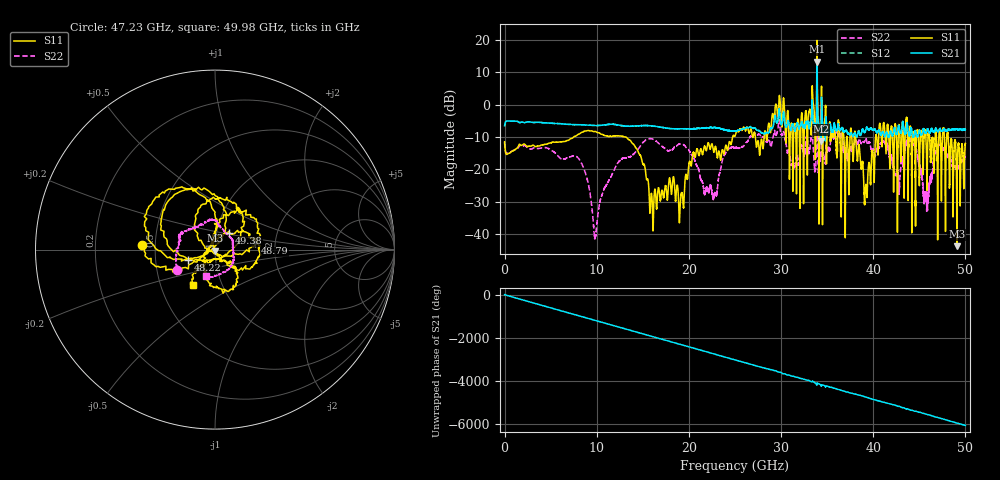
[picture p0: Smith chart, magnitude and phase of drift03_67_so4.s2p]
!Created with skrf (http://scikit-rf.org).
# Hz S RI R 50.0
!freq ReS11 ImS11 ReS21 ImS21 ReS12 ImS12 ReS22 ImS22
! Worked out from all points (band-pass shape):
!   10001 points, 300 kHz to 50 GHz, reference 50 ohm
!   highest |S21| = 13.28 dB at 33.9 GHz (marker M1); lowest = -11.4 dB at 34.32 GHz (marker M2)
!   |S21| within 3 dB of the highest: 33.89005 GHz to 33.90501 GHz (14.96 MHz wide, 0.0441 % of centre)
!   lowest |S11| = -43.8 dB at 49.07 GHz (marker M3), VSWR 1.01, Z = 50.1 - j0.633 ohm
!   |S11| at or under -10 dB: start of sweep to 7.488 GHz; 13.13 GHz to 24.74 GHz (11.61 GHz wide, 61.3 % of centre); 38.09 GHz to 40.25 GHz (2.162 GHz wide, 5.52 % of centre) (the widest 3 of 49)
!   |S22| runs from -41.5 to 5.7 dB; largest |S21 - S12| = 0.34
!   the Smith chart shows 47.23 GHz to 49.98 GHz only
!   S11 on the Smith chart (normalised r, x): 47.23 GHz: 0.42, +0.03; 48.22 GHz: 0.74, -0.08; 48.79 GHz: 1.57, +0.11; 49.38 GHz: 1.15, +0.22; 49.98 GHz: 0.72, -0.31
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300000  -0.2354 -0.1256  0.4642 0.0823  0.4642 0.084  -0.2302 -0.1317
1.440291e9  0.21 0.0648  -0.5482 -0.0293  -0.548 -0.0293  0.2113 -0.00421
2.915283e9  -0.2122 -0.0881  0.5345 0.0518  0.5347 0.0514  -0.202 0.0402
4.415274e9  0.2058 0.1324  -0.5219 -0.0422  -0.522 -0.0424  0.1989 -0.0874
8.33525e9  0.2889 -0.2337  0.1461 0.4665  0.1461 0.4663  -0.0725 -0.1017
9.840241e9  -0.3651 0.1252  -0.1431 -0.4538  -0.1432 -0.4537  0.00843 0.00193
1.66702e10  0.0272 0.0431  -0.3785 0.2531  -0.3783 0.2536  -0.1287 -0.2201
2.500015e10  -0.3268 -0.0149  -0.2546 -0.2973  -0.2535 -0.2979  -0.2126 0.03
2.895013e10  -0.3219 0.4228  -0.2918 0.3246  -0.3047 0.2881  0.0624 0.2206
3.006512e10  0.4001 0.2652  0.4503 -0.1969  0.4523 -0.1833  0.1752 -0.2985
3.171011e10  -0.0947 0.1857  -0.3629 0.3613  -0.3597 0.3567  0.0668 0.159
3.33351e10  0.651 -0.8367  0.2512 -0.8581  0.2523 -0.8384  -0.1939 -0.423
3.38951e10  -2.265 -9.585  -4.557 0.7171  -4.273 0.905  0.4712 1.878
3.432009e10  -0.7769 -0.00211  -0.1812 0.2007  -0.2429 0.1806  0.1423 -0.0766
4.167005e10  -0.2045 0.302  0.3151 0.00194  0.3143 0.0083  -0.1895 -0.0137
4.722502e10  -0.4092 0.0253  0.2923 0.3133  0.2913 0.3079  -0.2093 -0.1162
4.822001e10  -0.1479 -0.0557  0.1275 -0.3919  0.1282 -0.3961  -0.0209 0.1706
4.879001e10  0.2236 0.0346  -0.3373 -0.2399  -0.3385 -0.2382  0.096 0.0568
4.907001e10  0.00144 -0.00631  -0.4198 -0.0187  -0.421 -0.0205  0.1 0.0111
4.9375e10  0.0807 0.0936  -0.3483 0.2294  -0.3477 0.2304  0.1036 -0.0605
4.998e10  -0.1243 -0.1991  0.1211 0.393  0.1237 0.3929  -0.0508 -0.1491
5e10  -0.1162 -0.2249  0.146 0.3832  0.1437 0.383  -0.0535 -0.1448
